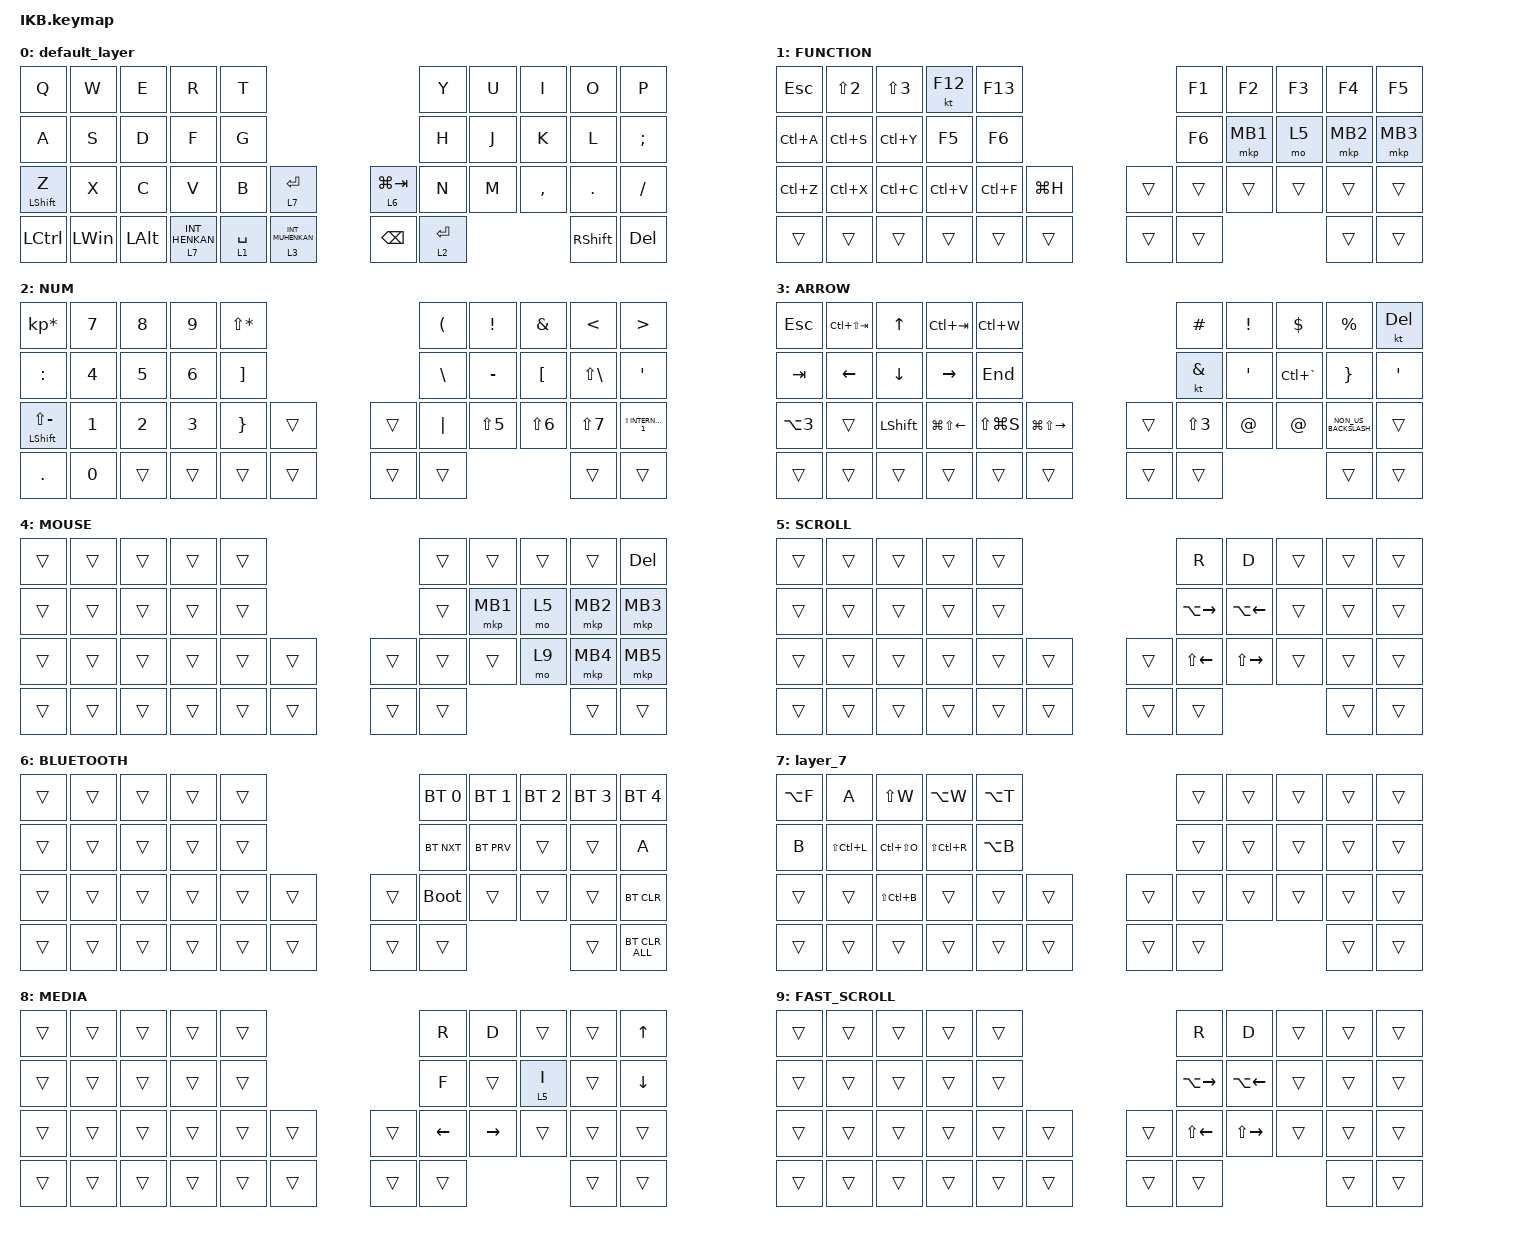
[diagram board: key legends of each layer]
/* =========================================================
 * Date: 2026-04-12
 * Filename: config/ikb.keymap
 * @details
 * レイヤー4(MOUSE)におけるキー割り当てを完全に整理しました。
 * K(真ん中) ＝ レイヤー5(精密)
 * カンマ(真下) ＝ レイヤー9(爆速)
 * I(真上) ＝ 何もしない(透過)
 * ========================================================= */

#include <input/processors.dtsi>
#include <behaviors.dtsi>
#include <dt-bindings/zmk/bt.h>
#include <dt-bindings/zmk/keys.h>
#include <dt-bindings/zmk/pointing.h>

#define MOUSE 4
#define SCROLL 5
#define NUM 6
#define FAST_SCROLL 9

&mt {
    flavor = "balanced";
    quick-tap-ms = <0>;
};

/ {
    combos {
        compatible = "zmk,combos";

        tab {
            bindings = <&kp TAB>;
            key-positions = <11 12>;
        };

        shift_tab {
            bindings = <&kp LS(TAB)>;
            key-positions = <12 13>;
        };

        muhennkann {
            bindings = <&to_layer_0 INT_MUHENKAN>;
            key-positions = <11 10>;
        };

        double_quotation {
            bindings = <&kp DOUBLE_QUOTES>;
            key-positions = <20 21>;
        };

        eq {
            bindings = <&kp EQUAL>;
            key-positions = <24 25>;
        };

        window_1 {
            bindings = <&kp LC(LG(RIGHT_ARROW))>;
            key-positions = <9 8>;
        };

        window_2 {
            bindings = <&kp LC(LG(LEFT_ARROW))>;
            key-positions = <18 19>;
        };

        vol_up {
            bindings = <&kp C_VOLUME_UP>;
            key-positions = <5 6>;
        };

        vol_down {
            bindings = <&kp C_VOL_DN>;
            key-positions = <15 16>;
        };

        mute {
            bindings = <&kp C_MUTE>;
            key-positions = <27 28>;
        };

        zoom_in {
            bindings = <&kp LC(COLON)>;
            key-positions = <6 7>;
        };

        zoom_out {
            bindings = <&kp LC(MINUS)>;
            key-positions = <16 17>;
        };

        layer8 {
            bindings = <&to 8>;
            key-positions = <6 7 8>;
        };

        layer0 {
            bindings = <&to 0>;
            key-positions = <16 17 18>;
        };
    };

    macros {
        to_layer_0: to_layer_0 {
            compatible = "zmk,behavior-macro-one-param";
            #binding-cells = <1>;
            bindings = <&to 0 &macro_param_1to1 &kp MACRO_PLACEHOLDER>;
            label = "TO_LAYER_0";
        };
    };

    behaviors {
        lt_to_layer_0: lt_to_layer_0 {
            compatible = "zmk,behavior-hold-tap";
            label = "LAYER_TAP_TO_0";
            bindings = <&mo>, <&to_layer_0>;

            #binding-cells = <2>;
            tapping-term-ms = <200>;
        };
    };

    keymap {
        compatible = "zmk,keymap";

        default_layer {
            bindings = <
&kp Q         &kp W         &kp E         &kp R                        &kp T                                                          &kp Y        &kp U  &kp I      &kp O            &kp P
&kp A         &kp S         &kp D         &kp F                        &kp G                                                          &kp H        &kp J  &kp K      &kp L            &kp SEMI
&mt LSHIFT Z  &kp X         &kp C         &kp V                        &kp B        &lt 7 ENTER                        &lt 6 LG(TAB)  &kp N        &kp M  &kp COMMA  &kp DOT          &kp SLASH
&kp LCTRL     &kp LEFT_WIN  &kp LEFT_ALT  &lt_to_layer_0 7 INT_HENKAN  &lt 1 SPACE  &lt_to_layer_0 3 INT_MUHENKAN      &kp BACKSPACE  &lt 2 ENTER                    &kp RIGHT_SHIFT  &kp DEL
            >;
        };

        FUNCTION {
            bindings = <
&kp ESC    &kp LS(NUMBER_2)  &kp LS(NUMBER_3)  &kt F12    &kp F13                           &kp F1  &kp F2    &kp F3  &kp F4    &kp F5
&kp LC(A)  &kp LC(S)         &kp LC(Y)         &kp F5     &kp F6                            &kp F6  &mkp MB1  &mo 5   &mkp MB2  &mkp MB3
&kp LC(Z)  &kp LC(X)         &kp LC(C)         &kp LC(V)  &kp LC(F)  &kp LG(H)      &trans  &trans  &trans    &trans  &trans    &trans
&trans     &trans            &trans            &trans     &trans     &trans         &trans  &trans                    &trans    &trans
            >;
        };

        NUM {
            bindings = <
&kp KP_ASTERISK           &kp NUMBER_7  &kp NUMBER_8  &kp NUMBER_9  &kp LS(ASTERISK)                       &kp LEFT_PARENTHESIS  &kp EXCLAMATION  &kp AMPERSAND     &kp LESS_THAN      &kp GREATER_THAN
&kp COLON                 &kp NUMBER_4  &kp NUMBER_5  &kp NUMBER_6  &kp RIGHT_BRACKET                      &kp BACKSLASH         &kp MINUS        &kp LEFT_BRACKET  &kp LS(BACKSLASH)  &kp SQT
&mt LEFT_SHIFT LS(MINUS)  &kp NUMBER_1  &kp NUMBER_2  &kp NUMBER_3  &kp RIGHT_BRACE    &trans      &trans  &kp PIPE              &kp LS(N5)       &kp LS(NUMBER_6)  &kp LS(NUMBER_7)   &kp LS(INTERNATIONAL_1)
&kp PERIOD                &kp NUMBER_0  &trans        &trans        &trans             &trans      &trans  &trans                                                   &trans             &trans
            >;
        };

        ARROW {
            bindings = <
&kp ESCAPE        &kp LC(LS(TAB))  &kp UP_ARROW    &kp LC(TAB)             &kp LC(W)                                           &kp HASH          &kp EXCLAMATION  &kp DOLLAR     &kp PERCENT           &kt DEL
&kp TAB           &kp LEFT_ARROW   &kp DOWN_ARROW  &kp RIGHT_ARROW         &kp END                                             &kt AMPERSAND     &kp SQT          &kp LC(GRAVE)  &kp RIGHT_BRACE       &kp SQT
&kp LA(NUMBER_3)  &trans           &kp LEFT_SHIFT  &kp LG(LS(LEFT_ARROW))  &kp LS(LG(S))  &kp LG(LS(RIGHT_ARROW))      &trans  &kp LS(NUMBER_3)  &kp AT_SIGN      &kp AT         &kp NON_US_BACKSLASH  &trans
&trans            &trans           &trans          &trans                  &trans         &trans                       &trans  &trans                                            &trans                &trans
            >;
        };

        MOUSE {
            bindings = <
&trans  &trans  &trans  &trans  &trans                      &trans  &trans    &trans  &trans    &kp DEL
&trans  &trans  &trans  &trans  &trans                      &trans  &mkp MB1  &mo 5   &mkp MB2  &mkp MB3
&trans  &trans  &trans  &trans  &trans  &trans      &trans  &trans  &trans    &mo 9   &mkp MB4  &mkp MB5
&trans  &trans  &trans  &trans  &trans  &trans      &trans  &trans                    &trans    &trans
            >;
        };

        SCROLL {
            bindings = <
&trans  &trans  &trans  &trans  &trans                      &kp R               &kp D                &trans  &trans  &trans
&trans  &trans  &trans  &trans  &trans                      &kp LA(RIGHT)       &kp LA(LEFT_ARROW)   &trans  &trans  &trans
&trans  &trans  &trans  &trans  &trans  &trans      &trans  &kp LS(LEFT_ARROW)  &kp LS(RIGHT_ARROW)  &trans  &trans  &trans
&trans  &trans  &trans  &trans  &trans  &trans      &trans  &trans                                           &trans  &trans
            >;
        };

        BLUETOOTH {
            bindings = <
&trans  &trans  &trans  &trans  &trans                      &bt BT_SEL 0  &bt BT_SEL 1  &bt BT_SEL 2  &bt BT_SEL 3  &bt BT_SEL 4
&trans  &trans  &trans  &trans  &trans                      &bt BT_NXT    &bt BT_PRV    &trans        &trans        &kp A
&trans  &trans  &trans  &trans  &trans  &trans      &trans  &bootloader   &trans        &trans        &trans        &bt BT_CLR
&trans  &trans  &trans  &trans  &trans  &trans      &trans  &trans                                    &trans        &bt BT_CLR_ALL
            >;
        };

        layer_7 {
            bindings = <
&kp LA(F)  &kp A          &kp LS(W)      &kp LA(W)      &kp LA(T)                      &trans  &trans  &trans  &trans  &trans
&kp B      &kp LS(LC(L))  &kp LC(LS(O))  &kp LS(LC(R))  &kp LA(B)                      &trans  &trans  &trans  &trans  &trans
&trans     &trans         &kp LS(LC(B))  &trans         &trans     &trans      &trans  &trans  &trans  &trans  &trans  &trans
&trans     &trans         &trans         &trans         &trans     &trans      &trans  &trans                  &trans  &trans
            >;
        };

        MEDIA {
            bindings = <
&trans  &trans  &trans  &trans  &trans                      &kp R           &kp D            &trans   &trans  &kp UP_ARROW
&trans  &trans  &trans  &trans  &trans                      &kp F           &trans           &lt 5 I  &trans  &kp DOWN_ARROW
&trans  &trans  &trans  &trans  &trans  &trans      &trans  &kp LEFT_ARROW  &kp RIGHT_ARROW  &trans   &trans  &trans
&trans  &trans  &trans  &trans  &trans  &trans      &trans  &trans                                    &trans  &trans
            >;
        };

        FAST_SCROLL {
            bindings = <
&trans  &trans  &trans  &trans  &trans                      &kp R               &kp D                &trans  &trans  &trans
&trans  &trans  &trans  &trans  &trans                      &kp LA(RIGHT)       &kp LA(LEFT_ARROW)   &trans  &trans  &trans
&trans  &trans  &trans  &trans  &trans  &trans      &trans  &kp LS(LEFT_ARROW)  &kp LS(RIGHT_ARROW)  &trans  &trans  &trans
&trans  &trans  &trans  &trans  &trans  &trans      &trans  &trans                                           &trans  &trans
            >;
        };
    };
};
